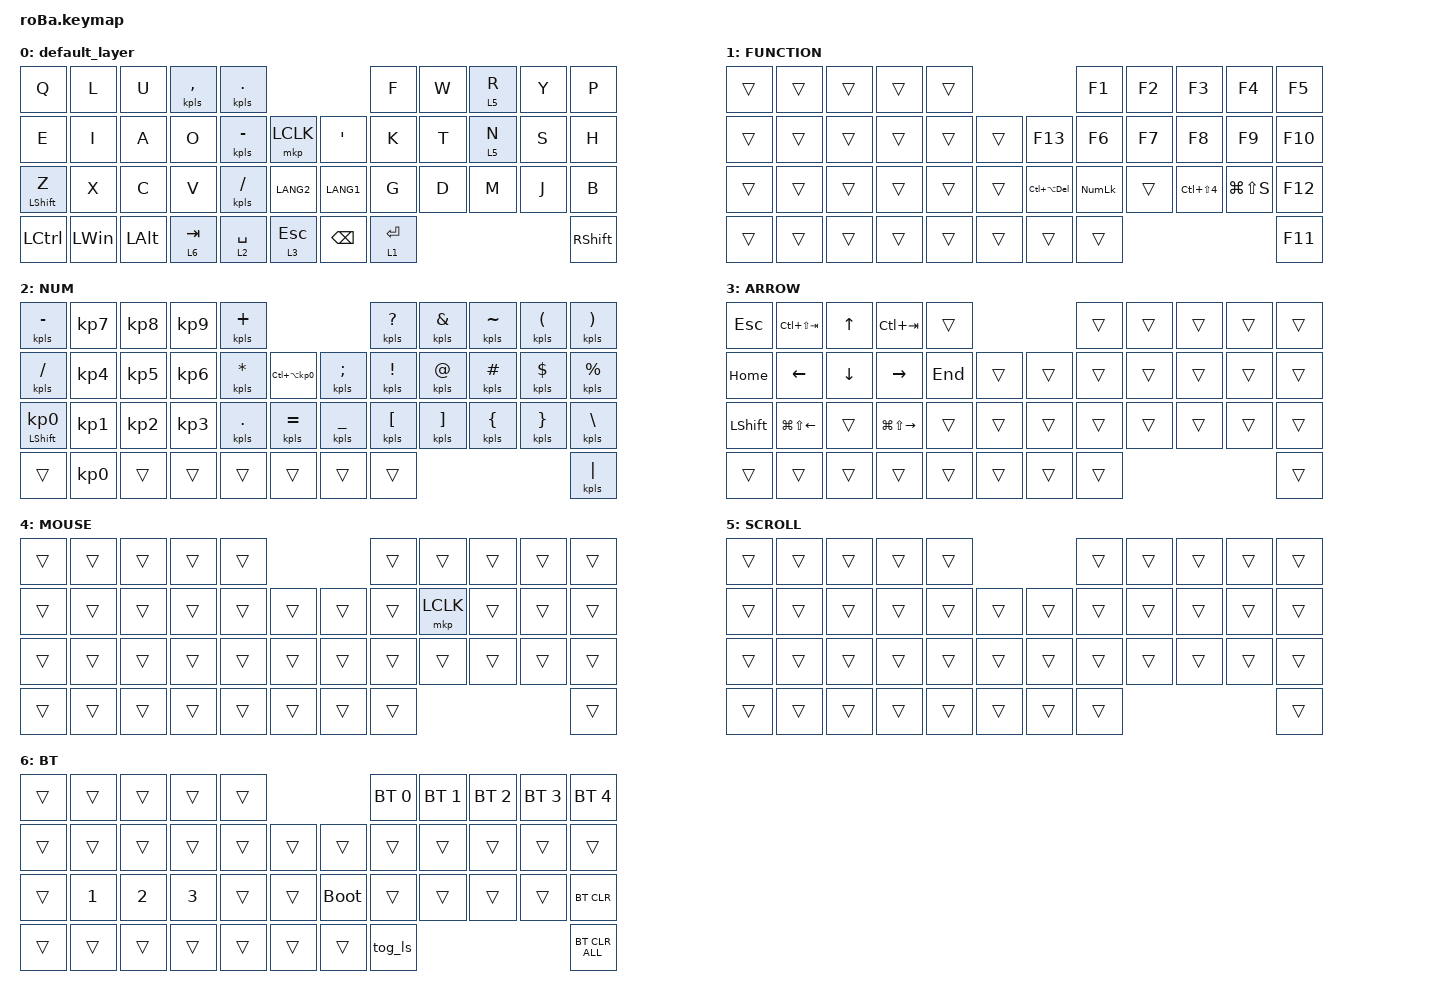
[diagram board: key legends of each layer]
#include <layout_shift.dtsi>
#include <behaviors.dtsi>
#include <dt-bindings/zmk/bt.h>
#include <dt-bindings/zmk/keys.h>
#include <dt-bindings/zmk/pointing.h>

&mt {
    flavor = "balanced";
    quick-tap-ms = <0>;
};

&trackball {
    // driver方式AMLは無効化し、Input Processor(zip_temp_layer)方式に移行
    // レイヤー5でドライバがXY移動をスクロールに変換する。
    // 1ノッチあたりの必要カウント数は roBa_R.conf の
    // CONFIG_PMW3610_SCROLL_TICK で調整する(大きいほど遅い)。

    scroll-layers = <5>;

    // input-processors は input-listener 側のプロパティのため、
    // デバイスノードに書いても効かない。実際の設定は
    // roBa_R.overlay の trackball_listener に集約している。
};

/ {
    combos {
        compatible = "zmk,combos";

        tab {
            bindings = <&kp TAB>;
            key-positions = <11 12>;
        };

        shift_tab {
            bindings = <&kp LS(TAB)>;
            key-positions = <12 13>;
        };

        double_quotation {
            bindings = <&kpls DOUBLE_QUOTES>;
            key-positions = <20 21>;
        };

        eq {
            bindings = <&kpls EQUAL>;
            key-positions = <24 25>;
        };

        rightclick {
            bindings = <&mkp MB2>;
            key-positions = <19 20>;
        };
    };

    macros {
        to_layer_0: to_layer_0 {
            compatible = "zmk,behavior-macro-one-param";
            #binding-cells = <1>;
            bindings = <&to 0 &macro_param_1to1 &kp MACRO_PLACEHOLDER>;
            label = "TO_LAYER_0";
        };
    };

    behaviors {
        lt_to_layer_0: lt_to_layer_0 {
            compatible = "zmk,behavior-hold-tap";
            label = "LAYER_TAP_TO_0";
            bindings = <&mo>, <&to_layer_0>;

            #binding-cells = <2>;
            tapping-term-ms = <200>;
        };
    };

    keymap {
        compatible = "zmk,keymap";

        default_layer {
            bindings = <
&kp Q             &kp L         &kp U         &kpls COMMA           &kpls PERIOD                                              &kp F        &kp W  &lt 5 R  &kp Y  &kp P
&kp E             &kp I         &kp A         &kp O                 &kpls MINUS   &mkp LCLK                 &kp SINGLE_QUOTE  &kp K        &kp T  &lt 5 N  &kp S  &kp H
&mt LEFT_SHIFT Z  &kp X         &kp C         &kp V                 &kpls SLASH   &kp LANG2                 &kp LANG1         &kp G        &kp D  &kp M    &kp J  &kp B
&kp LCTRL         &kp LEFT_WIN  &kp LEFT_ALT  &lt_to_layer_0 6 TAB  &lt 2 SPACE   &lt_to_layer_0 3 ESC      &kp BACKSPACE     &lt 1 ENTER                         &kp RIGHT_SHIFT
            >;
        };

        FUNCTION {
            bindings = <
&trans  &trans  &trans  &trans  &trans                                  &kp F1      &kp F2  &kp F3                &kp F4         &kp F5
&trans  &trans  &trans  &trans  &trans  &trans      &kp F13             &kp F6      &kp F7  &kp F8                &kp F9         &kp F10
&trans  &trans  &trans  &trans  &trans  &trans      &kp LC(LA(DELETE))  &kp KP_NUM  &trans  &kp LC(LS(NUMBER_4))  &kp LG(LS(S))  &kp F12
&trans  &trans  &trans  &trans  &trans  &trans      &trans              &trans                                                   &kp F11
            >;
        };

        NUM {
            bindings = <
&kpls MINUS                 &kp KP_NUMBER_7  &kp KP_NUMBER_8  &kp KP_NUMBER_9  &kpls PLUS                                                     &kpls QUESTION      &kpls AMPERSAND      &kpls TILDE       &kpls LEFT_PARENTHESIS  &kpls RIGHT_PARENTHESIS
&kpls SLASH                 &kp KP_NUMBER_4  &kp KP_NUMBER_5  &kp KP_NUMBER_6  &kpls ASTERISK  &kp LC(LA(KP_NUMBER_0))      &kpls SEMICOLON   &kpls EXCLAMATION   &kpls AT_SIGN        &kpls HASH        &kpls DOLLAR            &kpls PERCENT
&mt LEFT_SHIFT KP_NUMBER_0  &kp KP_NUMBER_1  &kp KP_NUMBER_2  &kp KP_NUMBER_3  &kpls PERIOD    &kpls EQUAL                  &kpls UNDERSCORE  &kpls LEFT_BRACKET  &kpls RIGHT_BRACKET  &kpls LEFT_BRACE  &kpls RIGHT_BRACE       &kpls BACKSLASH
&trans                      &kp KP_N0        &trans           &trans           &trans          &trans                       &trans            &trans                                                                             &kpls PIPE
            >;
        };

        ARROW {
            bindings = <
&kp ESCAPE      &kp LC(LS(TAB))         &kp UP_ARROW    &kp LC(TAB)              &trans                       &trans  &trans  &trans  &trans  &trans
&kp HOME        &kp LEFT_ARROW          &kp DOWN_ARROW  &kp RIGHT_ARROW          &kp END  &trans      &trans  &trans  &trans  &trans  &trans  &trans
&kp LEFT_SHIFT  &kp LG(LS(LEFT_ARROW))  &trans          &kp LG(LS(RIGHT_ARROW))  &trans   &trans      &trans  &trans  &trans  &trans  &trans  &trans
&trans          &trans                  &trans          &trans                   &trans   &trans      &trans  &trans                          &trans
            >;
        };

        MOUSE {
            bindings = <
&trans  &trans  &trans  &trans  &trans                      &trans  &trans     &trans  &trans  &trans
&trans  &trans  &trans  &trans  &trans  &trans      &trans  &trans  &mkp LCLK  &trans  &trans  &trans
&trans  &trans  &trans  &trans  &trans  &trans      &trans  &trans  &trans     &trans  &trans  &trans
&trans  &trans  &trans  &trans  &trans  &trans      &trans  &trans                             &trans
            >;
        };

        SCROLL {
            bindings = <
&trans  &trans  &trans  &trans  &trans                      &trans  &trans  &trans  &trans  &trans
&trans  &trans  &trans  &trans  &trans  &trans      &trans  &trans  &trans  &trans  &trans  &trans
&trans  &trans  &trans  &trans  &trans  &trans      &trans  &trans  &trans  &trans  &trans  &trans
&trans  &trans  &trans  &trans  &trans  &trans      &trans  &trans                          &trans
            >;
        };

        BT {
            bindings = <
&trans  &trans        &trans        &trans        &trans                           &bt BT_SEL 0  &bt BT_SEL 1  &bt BT_SEL 2  &bt BT_SEL 3  &bt BT_SEL 4
&trans  &trans        &trans        &trans        &trans  &trans      &trans       &trans        &trans        &trans        &trans        &trans
&trans  &kp NUMBER_1  &kp NUMBER_2  &kp NUMBER_3  &trans  &trans      &bootloader  &trans        &trans        &trans        &trans        &bt BT_CLR
&trans  &trans        &trans        &trans        &trans  &trans      &trans       &tog_ls                                                 &bt BT_CLR_ALL
            >;
        };
    };
};
